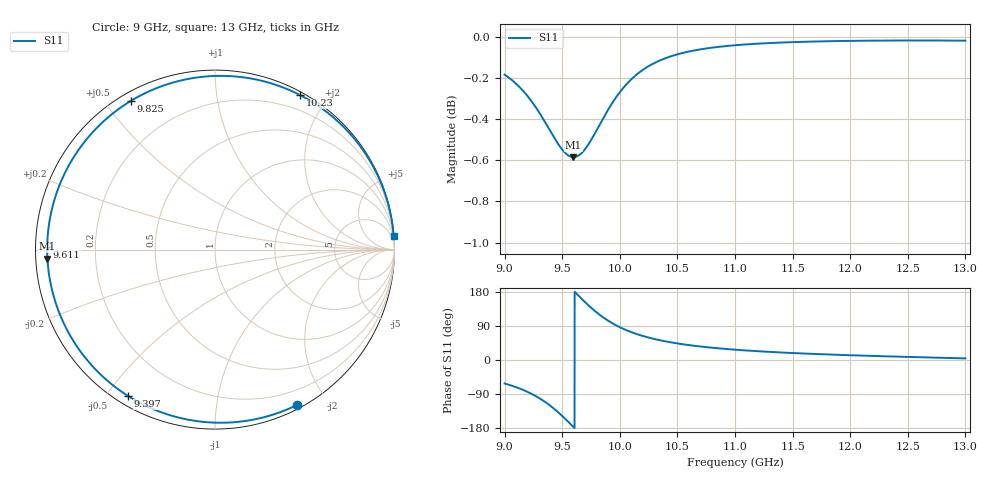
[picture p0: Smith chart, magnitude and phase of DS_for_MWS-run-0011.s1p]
! TOUCHSTONE file generated by CST DESIGN STUDIO
! Date and time: Tue Feb  4 13:10:35 2025
! Project name: C:\Work\MatlabApps\UnitCellOptimizationMatlab\CST\unitcell.cst
! Tree item: Tasks\Sweep1\SPara1\S-Parameters
! Header version: 2024
! Port assignment regex: !\s*Touchstone port\s*([0-9]+)\s*=\s*(CST MWS port|CST DES external port|CST DES block port)\s*(.+)\s* \(\"(.*)\"\)(\s*mode\s*([0-9]+))?.*
! Touchstone port assignment:
! Touchstone port 1 = CST DES external port 1 ("")
# GHz S MA R 50
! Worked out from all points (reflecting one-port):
!   4001 points, 9 GHz to 13 GHz, reference 50 ohm
!   lowest |S11| = -0.6 dB at 9.598 GHz (marker M1), VSWR 29.72, Z = 1.68 - j1.34 ohm
!   phase of S11 starts at -62 deg and turns -294 deg over the sweep
!   S11 on the Smith chart (normalised r, x): 9 GHz: 0.04, -1.66; 9.397 GHz: 0.03, -0.57; 9.611 GHz: 0.03, +0.01; 9.825 GHz: 0.03, +0.58; 10.23 GHz: 0.03, +1.70; 13 GHz: 1, +27
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9  0.9791 -62.0
9.052  0.9767 -66.8
9.123  0.9727 -74.3
9.245  0.9636 -91.0
9.326  0.956 -105.4
9.397  0.9486 -120.7
9.448  0.9434 -133.4
9.5  0.9388 -147.6
9.551  0.9359 -162.6
9.598  0.9349 -176.9
9.611  0.935 179.1
9.655  0.9363 165.6
9.702  0.9394 151.6
9.764  0.9453 134.4
9.825  0.952 119.3
9.864  0.9564 110.7
9.905  0.9607 102.5
10  0.9695 86.5
10.108  0.977 72.6
10.227  0.9828 61.1
10.353  0.987 51.8
10.5  0.9903 43.7
10.72  0.9932 34.9
11  0.9953 27.2
11.5  0.997 18.4
12  0.9977 12.6
12.5  0.998 8.1
13  0.9978 4.2
